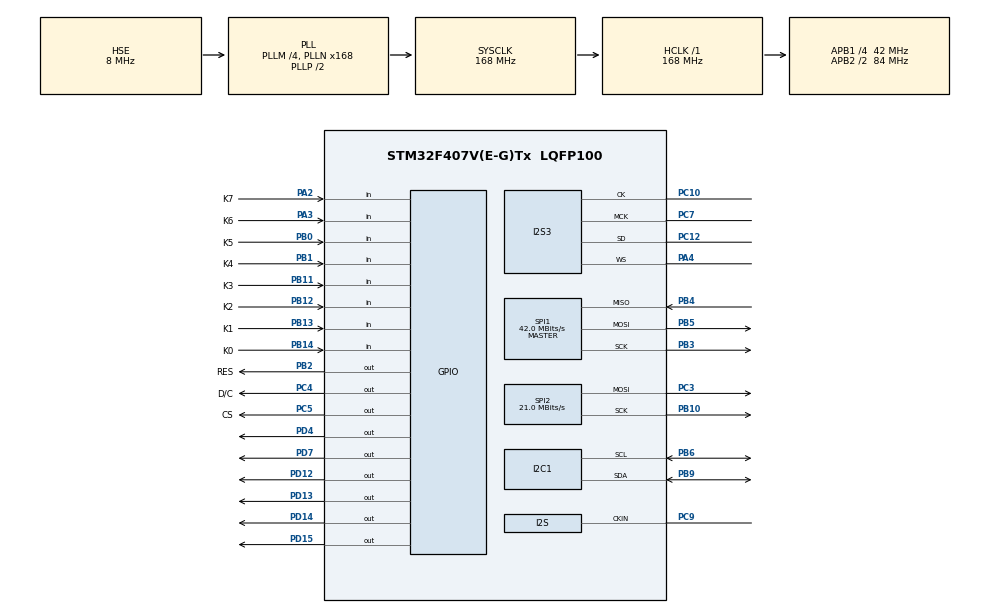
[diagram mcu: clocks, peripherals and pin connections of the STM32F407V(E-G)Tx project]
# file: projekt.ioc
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Dma.MEMTOMEM.1.Direction=DMA_MEMORY_TO_MEMORY
Dma.MEMTOMEM.1.FIFOMode=DMA_FIFOMODE_ENABLE
Dma.MEMTOMEM.1.FIFOThreshold=DMA_FIFO_THRESHOLD_FULL
Dma.MEMTOMEM.1.Instance=DMA2_Stream0
Dma.MEMTOMEM.1.MemBurst=DMA_MBURST_SINGLE
Dma.MEMTOMEM.1.MemDataAlignment=DMA_MDATAALIGN_HALFWORD
Dma.MEMTOMEM.1.MemInc=DMA_MINC_ENABLE
Dma.MEMTOMEM.1.Mode=DMA_NORMAL
Dma.MEMTOMEM.1.PeriphBurst=DMA_PBURST_SINGLE
Dma.MEMTOMEM.1.PeriphDataAlignment=DMA_PDATAALIGN_HALFWORD
Dma.MEMTOMEM.1.PeriphInc=DMA_PINC_ENABLE
Dma.MEMTOMEM.1.Priority=DMA_PRIORITY_LOW
Dma.Request0=SPI3_TX
Dma.Request1=MEMTOMEM
Dma.Request2=SPI1_RX
Dma.SPI1_RX.2.Direction=DMA_PERIPH_TO_MEMORY
Dma.SPI1_RX.2.FIFOMode=DMA_FIFOMODE_ENABLE
Dma.SPI1_RX.2.FIFOThreshold=DMA_FIFO_THRESHOLD_FULL
Dma.SPI1_RX.2.Instance=DMA2_Stream2
Dma.SPI1_RX.2.MemBurst=DMA_MBURST_SINGLE
Dma.SPI1_RX.2.MemDataAlignment=DMA_MDATAALIGN_BYTE
Dma.SPI1_RX.2.MemInc=DMA_MINC_ENABLE
Dma.SPI1_RX.2.Mode=DMA_NORMAL
Dma.SPI1_RX.2.PeriphBurst=DMA_PBURST_SINGLE
Dma.SPI1_RX.2.PeriphDataAlignment=DMA_PDATAALIGN_BYTE
Dma.SPI1_RX.2.PeriphInc=DMA_PINC_DISABLE
Dma.SPI1_RX.2.Priority=DMA_PRIORITY_LOW
Dma.SPI3_TX.0.Direction=DMA_MEMORY_TO_PERIPH
Dma.SPI3_TX.0.FIFOMode=DMA_FIFOMODE_ENABLE
Dma.SPI3_TX.0.FIFOThreshold=DMA_FIFO_THRESHOLD_FULL
Dma.SPI3_TX.0.Instance=DMA1_Stream5
Dma.SPI3_TX.0.MemBurst=DMA_MBURST_SINGLE
Dma.SPI3_TX.0.MemDataAlignment=DMA_MDATAALIGN_HALFWORD
Dma.SPI3_TX.0.MemInc=DMA_MINC_ENABLE
Dma.SPI3_TX.0.Mode=DMA_CIRCULAR
Dma.SPI3_TX.0.PeriphBurst=DMA_PBURST_SINGLE
Dma.SPI3_TX.0.PeriphDataAlignment=DMA_PDATAALIGN_HALFWORD
Dma.SPI3_TX.0.PeriphInc=DMA_PINC_DISABLE
Dma.SPI3_TX.0.Priority=DMA_PRIORITY_VERY_HIGH
I2S3.AudioFreq=I2S_AUDIOFREQ_16K
I2S3.ErrorAudioFreq=-0.26 %
I2S3.FullDuplexMode=I2S_FULLDUPLEXMODE_DISABLE
I2S3.Instance=SPI$Index
I2S3.RealAudioFreq=15.957 KHz
I2S3.VirtualMode=I2S_MODE_MASTER
Mcu.Family=STM32F4
Mcu.Name=STM32F407V(E-G)Tx
Mcu.Package=LQFP100
NVIC.DMA1_Stream5_IRQn=true\:0\:0\:false\:false\:true\:false\:true
NVIC.DMA2_Stream2_IRQn=true\:0\:0\:false\:false\:true\:false\:true
NVIC.PriorityGroup=NVIC_PRIORITYGROUP_4
NVIC.TIM4_IRQn=true\:0\:0\:false\:false\:true\:true\:true
PA2.GPIO_Label=K7
PA2.GPIO_PuPd=GPIO_PULLUP
PA2.Signal=GPIO_Input
PA3.GPIO_Label=K6
PA3.GPIO_PuPd=GPIO_PULLUP
PA3.Signal=GPIO_Input
PA4.Mode=Half_Duplex_Master
PA4.Signal=I2S3_WS
PB0.GPIO_Label=K5
PB0.GPIO_PuPd=GPIO_PULLUP
PB0.Signal=GPIO_Input
PB1.GPIO_Label=K4
PB1.GPIO_PuPd=GPIO_PULLUP
PB1.Signal=GPIO_Input
PB10.Mode=TX_Only_Simplex_Unidirect_Master
PB10.Signal=SPI2_SCK
PB11.GPIO_Label=K3
PB11.GPIO_PuPd=GPIO_PULLUP
PB11.Signal=GPIO_Input
PB12.GPIO_Label=K2
PB12.GPIO_PuPd=GPIO_PULLUP
PB12.Signal=GPIO_Input
PB13.GPIO_Label=K1
PB13.GPIO_PuPd=GPIO_PULLUP
PB13.Signal=GPIO_Input
PB14.GPIO_Label=K0
PB14.GPIO_PuPd=GPIO_PULLUP
PB14.Signal=GPIO_Input
PB2.GPIO_Label=RES
PB2.Signal=GPIO_Output
PB3.Mode=Full_Duplex_Master
PB3.Signal=SPI1_SCK
PB4.Mode=Full_Duplex_Master
PB4.Signal=SPI1_MISO
PB5.Mode=Full_Duplex_Master
PB5.Signal=SPI1_MOSI
PB6.Mode=I2C
PB6.Signal=I2C1_SCL
PB9.Mode=I2C
PB9.Signal=I2C1_SDA
PC10.Mode=Half_Duplex_Master
PC10.Signal=I2S3_CK
PC12.Mode=Half_Duplex_Master
PC12.Signal=I2S3_SD
PC3.Mode=TX_Only_Simplex_Unidirect_Master
PC3.Signal=SPI2_MOSI
PC4.GPIO_Label=D/C
PC4.Signal=GPIO_Output
PC5.GPIO_Label=CS
PC5.Signal=GPIO_Output
PC7.Mode=Master_Clock_Activated
PC7.Signal=I2S3_MCK
PC9.Mode=Audio_ClockIn
PC9.Signal=I2S_CKIN
PD12.Signal=GPIO_Output
PD13.Signal=GPIO_Output
PD14.Signal=GPIO_Output
PD15.Signal=GPIO_Output
PD4.Signal=GPIO_Output
PD7.Signal=GPIO_Output
PH0-OSC_IN.Mode=HSE-External-Oscillator
PH0-OSC_IN.Signal=RCC_OSC_IN
PH1-OSC_OUT.Mode=HSE-External-Oscillator
PH1-OSC_OUT.Signal=RCC_OSC_OUT
ProjectManager.HeapSize=0x200
ProjectManager.StackSize=0x400
ProjectManager.TargetToolchain=STM32CubeIDE
RCC.48MHZClocksFreq_Value=84000000
RCC.AHBFreq_Value=168000000
RCC.APB1CLKDivider=RCC_HCLK_DIV4
RCC.APB1Freq_Value=42000000
RCC.APB1TimFreq_Value=84000000
RCC.APB2CLKDivider=RCC_HCLK_DIV2
RCC.APB2Freq_Value=84000000
RCC.APB2TimFreq_Value=168000000
RCC.CortexFreq_Value=168000000
RCC.HCLKFreq_Value=168000000
RCC.HSE_VALUE=8000000
RCC.HSI_VALUE=16000000
RCC.LSE_VALUE=32768
RCC.PLLM=4
RCC.PLLN=168
RCC.PLLSourceVirtual=RCC_PLLSOURCE_HSE
RCC.SYSCLKFreq_VALUE=168000000
RCC.SYSCLKSource=RCC_SYSCLKSOURCE_PLLCLK
RCC.VCOOutputFreq_Value=336000000
SPI1.BaudRatePrescaler=SPI_BAUDRATEPRESCALER_2
SPI1.CalculateBaudRate=42.0 MBits/s
SPI1.DataSize=SPI_DATASIZE_8BIT
SPI1.Direction=SPI_DIRECTION_2LINES
SPI1.Mode=SPI_MODE_MASTER
SPI1.VirtualType=VM_MASTER
SPI2.CalculateBaudRate=21.0 MBits/s
SPI2.Direction=SPI_DIRECTION_2LINES
SPI2.Mode=SPI_MODE_MASTER
SPI2.VirtualType=VM_MASTER
TIM4.Period=1
TIM4.Prescaler=41
VP_TIM4_VS_ClockSourceINT.Mode=Internal
board=custom

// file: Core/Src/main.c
/* USER CODE BEGIN Header */
/**
  ******************************************************************************
  * @file           : main.c
  * @brief          : Main program body
  ******************************************************************************
  * @attention
  *
  * <h2><center>&copy; Copyright (c) 2020 STMicroelectronics.
  * All rights reserved.</center></h2>
  *
  * This software component is licensed by ST under BSD 3-Clause license,
  * the "License"; You may not use this file except in compliance with the
  * License. You may obtain a copy of the License at:
  *                        opensource.org/licenses/BSD-3-Clause
  *
  ******************************************************************************
  */
/* USER CODE END Header */

#include "main.h"

/* USER CODE BEGIN Includes */
#include "ff.h"
#include "CS43.h"
#include "file_system.h"
#include "ssd1306.h"
#include "display_control.h"
<<<<<<< Updated upstream
//#include "mp3dec.h"
=======
#include <stdio.h>
//#include "spiritMP3Dec.h"
>>>>>>> Stashed changes

#define K0	!HAL_GPIO_ReadPin(GPIOB, GPIO_PIN_14)
#define K1	!HAL_GPIO_ReadPin(GPIOB, GPIO_PIN_13)
#define K2	!HAL_GPIO_ReadPin(GPIOB, GPIO_PIN_12)
#define K3	!HAL_GPIO_ReadPin(GPIOB, GPIO_PIN_11)
#define K4	!HAL_GPIO_ReadPin(GPIOB, GPIO_PIN_1)
#define K5	!HAL_GPIO_ReadPin(GPIOB, GPIO_PIN_0)
#define K6	!HAL_GPIO_ReadPin(GPIOA, GPIO_PIN_3)
#define K7	!HAL_GPIO_ReadPin(GPIOA, GPIO_PIN_2)

/* USER CODE END Includes */

I2C_HandleTypeDef hi2c1;

I2S_HandleTypeDef hi2s3;
DMA_HandleTypeDef hdma_spi3_tx;

SPI_HandleTypeDef hspi1;
SPI_HandleTypeDef hspi2;
DMA_HandleTypeDef hdma_spi1_rx;

TIM_HandleTypeDef htim4;

DMA_HandleTypeDef hdma_memtomem_dma2_stream0;
/* USER CODE BEGIN PV */

char buffer[256];
static FATFS FatFs;
FRESULT fresult;
//obiekt pliku muzycznego
FIL mfile;

WORD bytes_written;
WORD bytes_read;

<<<<<<< Updated upstream
//extern const uint8_t rawAudio[123200];
=======
HAL_I2S_StateTypeDef hresult;
>>>>>>> Stashed changes

#define SM	22050

//uint16_t audio[SM];
uint32_t ad[SM];
//uint16_t read[SM];
uint16_t sample[2];

unsigned sam = 0;

volatile unsigned long filesize = 0;
unsigned chs = 1;
int pr = 0;

int button = 0;
uint8_t mode = 0;
uint8_t stop = 0;
int volume = 50;
//fs
char* fname = "/";
uint8_t fpos = 0;

/* USER CODE END PV */

void SystemClock_Config(void);
static void MX_GPIO_Init(void);
static void MX_DMA_Init(void);
static void MX_SPI1_Init(void);
static void MX_I2C1_Init(void);
static void MX_I2S3_Init(void);
static void MX_TIM4_Init(void);
static void MX_SPI2_Init(void);
/* USER CODE BEGIN PFP */

void HAL_TIM_PeriodElapsedCallback(TIM_HandleTypeDef *htim)
{
	if(htim->Instance == TIM4)
	{
		if(filesize>0 && stop==0)
		{
			while(HAL_I2S_GetState(&hi2s3) == HAL_I2S_STATE_BUSY_TX)
			{}

			/*if(filesize<SM)
			{
				//readData(audio,&mfile,filesize);
				filesize=0;
			}
			else
			{
				//readData(audio,&mfile,SM);
				filesize-=SM;
				//HAL_I2S_Transmit_DMA
			}*/
			/*sample[0]=rawAudio[sam];
			sample[1]=rawAudio[sam];
			HAL_I2S_Transmit(&hi2s3, sample, 2, 5);
			sam++;
			if(sam==123200) sam =0;*/

			/*if(chs==1)
			{
				sample[0] = audio[sam];
				sample[1] = audio[sam];
				sam++;
			}
			else if(chs==2)
			{
				sample[0] = audio[sam];
				sample[1] = audio[sam+1];
				sam+=2;
			}
			if(sam>=SM)
			{
				sam=0;
				filesize-=SM;
				//HAL_DMA_Start(&hdma_memtomem_dma2_stream0, *read, *sample, SM);

				readData(audio,&mfile,SM);
				pr++;
			}
			if(sam<filesize)
			{

				HAL_I2S_Transmit(&hi2s3, sample, 2, 5);

				HAL_I2S_Transmit_DMA(&hi2s3, sample, 2);

			}
			else
			{
				filesize = 0;
				closeFile(&mfile);
			}*/

			if(filesize<SM)
			{
				//HAL_I2S_Transmit_DMA(&hi2s3, audio, filesize);
				filesize = 0;
			}
			else
			{
				//HAL_I2S_Transmit_DMA(&hi2s3, audio, SM);
				filesize -= SM;
				//readData(audio, &mfile,SM);
				readData(ad, &mfile,SM);
			}
		}
	}
}

/* USER CODE END PFP */

int main(void)
{

  /* MCU Configuration--------------------------------------------------------*/

  /* Reset of all peripherals, Initializes the Flash interface and the Systick. */
  HAL_Init();

  /* Configure the system clock */
  SystemClock_Config();

  /* Initialize all configured peripherals */
  MX_GPIO_Init();
  MX_DMA_Init();
  MX_SPI1_Init();
  MX_I2C1_Init();
  MX_I2S3_Init();
  MX_TIM4_Init();
  MX_SPI2_Init();
  /* USER CODE BEGIN 2 */

  char* ts = "au.wav";

  fresult = fatInit(&FatFs);
  HAL_Delay(1);
<<<<<<< Updated upstream
  fresult = openFile(ts, &mfile);
  HAL_Delay(1);
  filesize = setUp(&mfile, &hi2s3, &chs);
=======
  //fresult = openFile(ts, &files[0]);
  HAL_Delay(1);
  //filesize = setUp(&files[0], &hi2s3, &chs);
>>>>>>> Stashed changes
  HAL_Delay(1);

	/*HAL_GPIO_WritePin(GPIOD, GPIO_PIN_7, 0);

	fresult = f_mount(&FatFs, "", 0);
	fresult = f_open(&file, "write.txt", FA_OPEN_ALWAYS | FA_WRITE);
	volatile int len = 0;

    FRESULT res;
    DIR dir;
    static FILINFO fno;
    volatile int ile = 0;
    res = f_opendir(&dir,"/");
    if(res == FR_OK)
    {
    	while(1)
		{
			res = f_readdir(&dir,&fno);
			if(res != FR_OK || fno.fname[0] == 0) break;
			else if(fno.fattrib & AM_SYS) continue;
			else ile++;
			len = sprintf( buffer, "\n");
			fresult = f_write(&file,buffer,len,&bytes_written);
			len = sprintf( buffer, fno.fname);
			fresult = f_write(&file,buffer,len,&bytes_written);

		}
    }
    fresult = f_close (&file);
    volatile int v1 = 1;*/

  	//readData(read,&mfile,SM);
  	//HAL_DMA_Start(&hdma_memtomem_dma2_stream0, *read, *sample, SM);

  	//readData(audio,&mfile,SM);
  	readData(ad,&mfile,SM*4);

    CS43_Start(&hi2c1);

    int lll = 0;
    setVolume(&hi2c1,100);

    //HAL_TIM_Base_Start_IT(&htim4);
    //filesize = 1;
    displayInit();

  /* USER CODE END 2 */

  /* Infinite loop */
  /* USER CODE BEGIN WHILE */
  while (1)
  {
<<<<<<< Updated upstream

	  /*v1 = HAL_GPIO_ReadPin(GPIOB, GPIO_PIN_14);
	  if(!v1)
	  {
		  HAL_GPIO_TogglePin(GPIOD,GPIO_PIN_14);
	  }
	  v1=1;
	  HAL_Delay(500);*/

	  //HAL_I2S_Transmit_DMA(&hi2s3, sample, 2);
		//while(HAL_I2S_GetState(&hi2s3) == HAL_I2S_STATE_BUSY_TX)
		//{}
	  	  if(stop==0)
	  	  {
	  		if(lll<SM)
	  			  	{
	  			  		//HAL_I2S_Transmit_DMA(&hi2s3, audio, SM);
	  					HAL_I2S_Transmit_DMA(&hi2s3, ad, SM);
	  			  		HAL_GPIO_TogglePin(GPIOD,GPIO_PIN_14);
	  			  		lll+=SM;
	  			  	}
	  			  	else
	  			  	{
	  			  		lll=0;
	  			  		if(filesize<SM)
	  					{
	  						readData(ad,&mfile,filesize*4);
	  						//readData(audio,&mfile,filesize*2);
	  						filesize=0;
	  					}
	  					else
	  					{
	  						//readData(audio,&mfile,SM*2);
	  						readData(ad,&mfile,SM*4);
	  						filesize-=SM;
	  					}
	  			  	}
	  	  }

	  if(K0)
	  {
		  if(pr) continue;
		  pr=1;
		  if(fresult!=FR_OK)
		  {
			  fresult = fatInit(&FatFs);
			  displayInit();
		  }
		  else
		  {
			  mode = (mode+1)%2;
			  //change mode
			  fpos = 0;
			  update(&fpos);
		  }

	  }
	  else if(K1)	//stop play
	  {
		  HAL_StatusTypeDef status;
		 if(pr) continue;
		 pr=1;
		 stop = (++stop)%2;
		 if(stop){
			 while ((status = HAL_I2C_Mem_Write(&hi2c1, 0x94, 0x0F, 1, 253, 1, 100)) != HAL_OK);
		 }
		 else{
			 while ((status = HAL_I2C_Mem_Write(&hi2c1, 0x94, 0x0F, 1, 0, 1, 100)) != HAL_OK);
			 setVolume(&hi2c1,volume);
		 }
	  }
	  else if(K2)
	  {
		  if(pr) continue;
		  pr=1;
		  if(volume<100) volume+=10;
		  setVolume(&hi2c1,volume);
	  }
	  else if(K3)
	  {
		  if(pr) continue;
		  pr=1;
		  if(volume>0) volume-=10;
		  setVolume(&hi2c1,volume);
	  }
	  else if(K4)
	  {
		  if(pr) continue;
		  pr=1;
		  goBack(&fpos);
		  fpos=0;
		  update(&fpos);
	  }
	  else if(K5)
	  {
		  if(pr) continue;
		  pr=1;
		  //open
		  if(open(&fpos, &mfile)==1)
		  {
			  fpos=0;
			  update(&fpos);
		  }
	  }
	  else if(K6)
	  {
		  if(pr) continue;
		  pr=1;
		  scrollUp(&fpos);
		  if(fpos==4) open(&fpos, &mfile);
		  update(&fpos);
		  HAL_Delay(1);
	  }
	  else if(K7)
	  {
		  if(pr) continue;
		  pr=1;
		  scrollDown(&fpos);
		  if(fpos==0) {
			  open(5, &mfile);
		  }
=======
	if(stop==0)
	{
		switch(playType)
		{
		case 0:;
			//nic nie gra
			HAL_StatusTypeDef status;
			//uint16_t emptyData = 0;
			//HAL_I2S_Transmit_DMA(&hi2s3, &emptyData, 1);
			//while ((status = HAL_I2C_Mem_Write(&hi2c1, 0x94, 0x0F, 1, 253, 1, 100)) != HAL_OK);
			if(playPlaylist)
			{
				//kolejna piosenka
				nextsong++;
				int temppos = fpos;
				scrollDown(&fpos);
				if(temppos == fpos)
				{

				}
				else
				{

				}
				update(&fpos);
				playType = forceFile(&fpos, &files[0]);
				//readPlaylist(&nextsong, files[2]);
			}
			else
			{
				for(int i=0;i<SM;i++)
				{
					ad[i]=0;
				}
				//HAL_I2S_Transmit_DMA(&hi2s3, &ad,SM);
				stop=1;
			}
			break;
		case 1:	//wav
			if(filesize>0)
			{
				if(filesize<SM)
				{
					readData(ad,&files[0],filesize*4);
					//while((hresult = HAL_I2S_Transmit_DMA(&hi2s3, ad, filesize))!=HAL_OK);
					hresult = HAL_I2S_Transmit_DMA(&hi2s3, ad, filesize);
				}
				else
				{
					readData(ad,&files[0],SM*4);
					//while((hresult = HAL_I2S_Transmit_DMA(&hi2s3, ad, SM))!=HAL_OK);
					hresult = HAL_I2S_Transmit_DMA(&hi2s3, ad, SM*4);
				}

			}
			else
			{
				playType = 0;	//zakończ odtwarzanie
			}
			break;
		case 2: //mp3
			if(1==1)
			{
				//gra muzyka
			}
			else
			{
				playType = 0; 	//zakończ odtwarzanie
			}
			break;
		default:
			break;
		}

		/*if(lll<SM)
		{
			//HAL_I2S_Transmit_DMA(&hi2s3, audio, SM);
			HAL_I2S_Transmit_DMA(&hi2s3, ad, SM);
			HAL_GPIO_TogglePin(GPIOD,GPIO_PIN_14);
			lll+=SM;
		}
		else
		{
			lll=0;
			if(filesize<SM)
			{
				readData(ad,&files[0],filesize*4);
				//readData(audio,&mfile,filesize*2);
				filesize=0;
			}
			else
			{
				//readData(audio,&mfile,SM*2);
				readData(ad,&files[0],SM*4);
				filesize-=SM;
			}
		}*/
	}
	if(K0)
	{
		if(pr) continue;
		pr=1;
		//mode = (mode+1)%2;
		if(ifPlaylist) ifPlaylist = 0;
		changeMode(&mode);
		update(&fpos);
		/*if(fresult!=FR_OK)
		{
		  fresult = fatInit(&FatFs);
		  displayInit();
		}
		else
		{
		  mode = (mode+1)%2;
		  //change mode
		  fpos = 0;
>>>>>>> Stashed changes
		  update(&fpos);
	  }
	  else pr=0;

<<<<<<< Updated upstream

=======
	}
	/// NEW
	else if(K1)				// mode 0 stop/play 	|| mode 1 add song
	{
		if(mode == 0)
		{
			HAL_StatusTypeDef status;
			if(pr) continue;
			pr=1;
			stop = (++stop)%2;
			if(stop)
			{
				while ((status = HAL_I2C_Mem_Write(&hi2c1, 0x94, 0x0F, 1, 253, 1, 100)) != HAL_OK);
			}
			else
			{
				while ((status = HAL_I2C_Mem_Write(&hi2c1, 0x94, 0x0F, 1, 0, 1, 100)) != HAL_OK);
				setVolume(&hi2c1,volume);
			}
		}
		else if (mode == 1)
		{	/// NEW
			if(ifPlaylist == 1)
			{
				addSong(&fpos, &files[1]);
				HAL_Delay(600);
			}
			else if(ifPlaylist == 0)
			{
				//
			}
		}
	}
	/// NEW
	else if(K2)				//mode 1 volume up || mode 0 create playlist
	{
		if(pr) continue;
		pr=1;
		if(mode==0)
		{
			if(volume<100) volume+=10;
					setVolume(&hi2c1,volume);
		}
		else if (mode==1)
		{
			if(ifPlaylist == 0)
			{
				ifPlaylist = 1;
				createPlaylist(&files[1]);

				//creatPlayName = createPlaylist();
				/// TODO
				// przechodzimy do głównego folderu
				// dir = "/";
				updateDir();
				update(&fpos);
			}
			/*else if(ifPlaylist == 1)
			{
				ifPlaylist = 0;				// koniec edycji playlistty
				/// TODO
				forceDir("/playlists");
				fpos = 0;
				// przechodzimy do ścieżki, gdzie znajdują się playlisty
				// dir = "/playlists/plist\0";
				 updateDir();
				 update(&fpos);
			}*/
		}
	}
	/// NEW
	else if(K3) 		//mode 0 volume down || mode 1 delete playlist
	{
		if(pr) continue;
		pr=1;
		if(mode==0)
		{
			if(volume>0) volume-=10;
			setVolume(&hi2c1,volume);
		}
		else if(mode == 1)
		{
			deletePlaylist(&fpos);
		}
	}
	else if(K4)	//go back
	{
		if(pr) continue;
		pr=1;
		goBack(&fpos);
		if(playPlaylist)
		{
			playPlaylist = 0;
			changeView(0);
		}
		fpos=0;
		update(&fpos);
	}
	else if(K5)	//open
	{
		if(pr) continue;
		pr=1;
		//open
		if(playPlaylist==0)	//jeżeli playlista nie jest otwarta - nie odtwarza się
		{
			switch(open(&fpos, files))
			{
				case 0:
					//error

					break;
				case 1:
					//wav
					filesize = setUp(&files[0], &hi2s3, &chs);
					readData(ad,&files[0],SM*4);
					//HAL_I2S_Transmit_DMA(&hi2s3, ad, SM*2);
					playType = 1;
					stop=0;

					break;
				case 2:
					//mp3
					//brak nie działa

					playType = 2;
					stop=0;

					break;
				case 3:
					//playlista
					//0	-	wyswietl playliste
					changeView(1);
					fpos=0;
					update(&fpos);
					ifPlaylist = 0;
					//tu należy zacząć odtwarzać playliste, przewijanie góra/dół (K6/K7) przewija piosenke
					if(howLinesFun(&files[1])>0)	//liczy ile jest piosenek
					{
						playPlaylist = 1;	//zaczyna odtwarzanie playlisty
					}
					forceFile(&fpos,&files[0]);	//otwórz pierwszą piosenke z pl
					filesize = setUp(&files[0], &hi2s3, &chs);
					playType = 1;
					stop = 0;

					break;
				case 4:
					//folder
					fpos=0;
					updateDir();
					update(&fpos);

					break;
				default:
					break;
			}
		}

		/*if(open(&fpos, &mfile)==1)
		{
			fpos=0;
			update(&fpos);
		}*/
	}
	else if(K6)	//position up
	{
		if(pr) continue;
		pr=1;
		scrollUp(&fpos);
		//if(fpos==4) open(5, &mfile);
		if(fpos==4)
		{
			updateDir();
			updatePL(&files[1]);
		}
		if(playPlaylist)forceFile(&fpos,&files[0]);
		update(&fpos);
		HAL_Delay(1);
	}
	else if(K7)	//position down
	{
		if(pr) continue;
		pr=1;
		scrollDown(&fpos);
		if(fpos==0)
		{
			updateDir();
			updatePL(&files[1]);
			//open(5, &mfile);
		}
		if(playPlaylist)forceFile(&fpos,&files[0]);
		update(&fpos);
	}
	else pr=0;
>>>>>>> Stashed changes
    /* USER CODE END WHILE */

  }
}

void SystemClock_Config(void)
{
  RCC_OscInitTypeDef RCC_OscInitStruct = {0};
  RCC_ClkInitTypeDef RCC_ClkInitStruct = {0};
  RCC_PeriphCLKInitTypeDef PeriphClkInitStruct = {0};

  /** Configure the main internal regulator output voltage
  */
  __HAL_RCC_PWR_CLK_ENABLE();
  __HAL_PWR_VOLTAGESCALING_CONFIG(PWR_REGULATOR_VOLTAGE_SCALE1);
  /** Initializes the CPU, AHB and APB busses clocks
  */
  RCC_OscInitStruct.OscillatorType = RCC_OSCILLATORTYPE_HSE;
  RCC_OscInitStruct.HSEState = RCC_HSE_ON;
  RCC_OscInitStruct.PLL.PLLState = RCC_PLL_ON;
  RCC_OscInitStruct.PLL.PLLSource = RCC_PLLSOURCE_HSE;
  RCC_OscInitStruct.PLL.PLLM = 4;
  RCC_OscInitStruct.PLL.PLLN = 168;
  RCC_OscInitStruct.PLL.PLLP = RCC_PLLP_DIV2;
  RCC_OscInitStruct.PLL.PLLQ = 4;
  if (HAL_RCC_OscConfig(&RCC_OscInitStruct) != HAL_OK)
  {
    Error_Handler();
  }
  /** Initializes the CPU, AHB and APB busses clocks
  */
  RCC_ClkInitStruct.ClockType = RCC_CLOCKTYPE_HCLK|RCC_CLOCKTYPE_SYSCLK
                              |RCC_CLOCKTYPE_PCLK1|RCC_CLOCKTYPE_PCLK2;
  RCC_ClkInitStruct.SYSCLKSource = RCC_SYSCLKSOURCE_PLLCLK;
  RCC_ClkInitStruct.AHBCLKDivider = RCC_SYSCLK_DIV1;
  RCC_ClkInitStruct.APB1CLKDivider = RCC_HCLK_DIV4;
  RCC_ClkInitStruct.APB2CLKDivider = RCC_HCLK_DIV2;

  if (HAL_RCC_ClockConfig(&RCC_ClkInitStruct, FLASH_LATENCY_5) != HAL_OK)
  {
    Error_Handler();
  }
  PeriphClkInitStruct.PeriphClockSelection = RCC_PERIPHCLK_I2S;
  PeriphClkInitStruct.PLLI2S.PLLI2SN = 192;
  PeriphClkInitStruct.PLLI2S.PLLI2SR = 2;
  if (HAL_RCCEx_PeriphCLKConfig(&PeriphClkInitStruct) != HAL_OK)
  {
    Error_Handler();
  }
}

static void MX_I2C1_Init(void)
{

  hi2c1.Instance = I2C1;
  hi2c1.Init.ClockSpeed = 100000;
  hi2c1.Init.DutyCycle = I2C_DUTYCYCLE_2;
  hi2c1.Init.OwnAddress1 = 0;
  hi2c1.Init.AddressingMode = I2C_ADDRESSINGMODE_7BIT;
  hi2c1.Init.DualAddressMode = I2C_DUALADDRESS_DISABLE;
  hi2c1.Init.OwnAddress2 = 0;
  hi2c1.Init.GeneralCallMode = I2C_GENERALCALL_DISABLE;
  hi2c1.Init.NoStretchMode = I2C_NOSTRETCH_DISABLE;
  if (HAL_I2C_Init(&hi2c1) != HAL_OK)
  {
    Error_Handler();
  }

}

static void MX_I2S3_Init(void)
{

  hi2s3.Instance = SPI3;
  hi2s3.Init.Mode = I2S_MODE_MASTER_TX;
  hi2s3.Init.Standard = I2S_STANDARD_PHILIPS;
  hi2s3.Init.DataFormat = I2S_DATAFORMAT_16B;
  hi2s3.Init.MCLKOutput = I2S_MCLKOUTPUT_ENABLE;
  hi2s3.Init.AudioFreq = I2S_AUDIOFREQ_16K;
  hi2s3.Init.CPOL = I2S_CPOL_LOW;
  hi2s3.Init.ClockSource = I2S_CLOCK_PLL;
  hi2s3.Init.FullDuplexMode = I2S_FULLDUPLEXMODE_DISABLE;
  if (HAL_I2S_Init(&hi2s3) != HAL_OK)
  {
    Error_Handler();
  }

}

static void MX_SPI1_Init(void)
{

  /* SPI1 parameter configuration*/
  hspi1.Instance = SPI1;
  hspi1.Init.Mode = SPI_MODE_MASTER;
  hspi1.Init.Direction = SPI_DIRECTION_2LINES;
  hspi1.Init.DataSize = SPI_DATASIZE_8BIT;
  hspi1.Init.CLKPolarity = SPI_POLARITY_LOW;
  hspi1.Init.CLKPhase = SPI_PHASE_1EDGE;
  hspi1.Init.NSS = SPI_NSS_SOFT;
  hspi1.Init.BaudRatePrescaler = SPI_BAUDRATEPRESCALER_2;
  hspi1.Init.FirstBit = SPI_FIRSTBIT_MSB;
  hspi1.Init.TIMode = SPI_TIMODE_DISABLE;
  hspi1.Init.CRCCalculation = SPI_CRCCALCULATION_DISABLE;
  hspi1.Init.CRCPolynomial = 10;
  if (HAL_SPI_Init(&hspi1) != HAL_OK)
  {
    Error_Handler();
  }

}

static void MX_SPI2_Init(void)
{

  /* SPI2 parameter configuration*/
  hspi2.Instance = SPI2;
  hspi2.Init.Mode = SPI_MODE_MASTER;
  hspi2.Init.Direction = SPI_DIRECTION_2LINES;
  hspi2.Init.DataSize = SPI_DATASIZE_8BIT;
  hspi2.Init.CLKPolarity = SPI_POLARITY_LOW;
  hspi2.Init.CLKPhase = SPI_PHASE_1EDGE;
  hspi2.Init.NSS = SPI_NSS_SOFT;
  hspi2.Init.BaudRatePrescaler = SPI_BAUDRATEPRESCALER_2;
  hspi2.Init.FirstBit = SPI_FIRSTBIT_MSB;
  hspi2.Init.TIMode = SPI_TIMODE_DISABLE;
  hspi2.Init.CRCCalculation = SPI_CRCCALCULATION_DISABLE;
  hspi2.Init.CRCPolynomial = 10;
  if (HAL_SPI_Init(&hspi2) != HAL_OK)
  {
    Error_Handler();
  }

}

static void MX_TIM4_Init(void)
{

  TIM_ClockConfigTypeDef sClockSourceConfig = {0};
  TIM_MasterConfigTypeDef sMasterConfig = {0};

  htim4.Instance = TIM4;
  htim4.Init.Prescaler = 41;
  htim4.Init.CounterMode = TIM_COUNTERMODE_UP;
  htim4.Init.Period = 1;
  htim4.Init.ClockDivision = TIM_CLOCKDIVISION_DIV1;
  htim4.Init.AutoReloadPreload = TIM_AUTORELOAD_PRELOAD_DISABLE;
  if (HAL_TIM_Base_Init(&htim4) != HAL_OK)
  {
    Error_Handler();
  }
  sClockSourceConfig.ClockSource = TIM_CLOCKSOURCE_INTERNAL;
  if (HAL_TIM_ConfigClockSource(&htim4, &sClockSourceConfig) != HAL_OK)
  {
    Error_Handler();
  }
  sMasterConfig.MasterOutputTrigger = TIM_TRGO_RESET;
  sMasterConfig.MasterSlaveMode = TIM_MASTERSLAVEMODE_DISABLE;
  if (HAL_TIMEx_MasterConfigSynchronization(&htim4, &sMasterConfig) != HAL_OK)
  {
    Error_Handler();
  }

}

static void MX_DMA_Init(void)
{

  /* DMA controller clock enable */
  __HAL_RCC_DMA1_CLK_ENABLE();
  __HAL_RCC_DMA2_CLK_ENABLE();

  /* Configure DMA request hdma_memtomem_dma2_stream0 on DMA2_Stream0 */
  hdma_memtomem_dma2_stream0.Instance = DMA2_Stream0;
  hdma_memtomem_dma2_stream0.Init.Channel = DMA_CHANNEL_0;
  hdma_memtomem_dma2_stream0.Init.Direction = DMA_MEMORY_TO_MEMORY;
  hdma_memtomem_dma2_stream0.Init.PeriphInc = DMA_PINC_ENABLE;
  hdma_memtomem_dma2_stream0.Init.MemInc = DMA_MINC_ENABLE;
  hdma_memtomem_dma2_stream0.Init.PeriphDataAlignment = DMA_PDATAALIGN_HALFWORD;
  hdma_memtomem_dma2_stream0.Init.MemDataAlignment = DMA_MDATAALIGN_HALFWORD;
  hdma_memtomem_dma2_stream0.Init.Mode = DMA_NORMAL;
  hdma_memtomem_dma2_stream0.Init.Priority = DMA_PRIORITY_LOW;
  hdma_memtomem_dma2_stream0.Init.FIFOMode = DMA_FIFOMODE_ENABLE;
  hdma_memtomem_dma2_stream0.Init.FIFOThreshold = DMA_FIFO_THRESHOLD_FULL;
  hdma_memtomem_dma2_stream0.Init.MemBurst = DMA_MBURST_SINGLE;
  hdma_memtomem_dma2_stream0.Init.PeriphBurst = DMA_PBURST_SINGLE;
  if (HAL_DMA_Init(&hdma_memtomem_dma2_stream0) != HAL_OK)
  {
    Error_Handler( );
  }

  /* DMA interrupt init */
  /* DMA1_Stream5_IRQn interrupt configuration */
  HAL_NVIC_SetPriority(DMA1_Stream5_IRQn, 0, 0);
  HAL_NVIC_EnableIRQ(DMA1_Stream5_IRQn);
  /* DMA2_Stream2_IRQn interrupt configuration */
  HAL_NVIC_SetPriority(DMA2_Stream2_IRQn, 0, 0);
  HAL_NVIC_EnableIRQ(DMA2_Stream2_IRQn);

}

static void MX_GPIO_Init(void)
{
  GPIO_InitTypeDef GPIO_InitStruct = {0};

  /* GPIO Ports Clock Enable */
  __HAL_RCC_GPIOH_CLK_ENABLE();
  __HAL_RCC_GPIOC_CLK_ENABLE();
  __HAL_RCC_GPIOA_CLK_ENABLE();
  __HAL_RCC_GPIOB_CLK_ENABLE();
  __HAL_RCC_GPIOD_CLK_ENABLE();

  /*Configure GPIO pin Output Level */
  HAL_GPIO_WritePin(GPIOC, D_C_Pin|CS_Pin, GPIO_PIN_RESET);

  /*Configure GPIO pin Output Level */
  HAL_GPIO_WritePin(RES_GPIO_Port, RES_Pin, GPIO_PIN_RESET);

  /*Configure GPIO pin Output Level */
  HAL_GPIO_WritePin(GPIOD, GPIO_PIN_12|GPIO_PIN_13|GPIO_PIN_14|GPIO_PIN_15
                          |GPIO_PIN_4|GPIO_PIN_7, GPIO_PIN_RESET);

  /*Configure GPIO pins : K7_Pin K6_Pin */
  GPIO_InitStruct.Pin = K7_Pin|K6_Pin;
  GPIO_InitStruct.Mode = GPIO_MODE_INPUT;
  GPIO_InitStruct.Pull = GPIO_PULLUP;
  HAL_GPIO_Init(GPIOA, &GPIO_InitStruct);

  /*Configure GPIO pins : D_C_Pin CS_Pin */
  GPIO_InitStruct.Pin = D_C_Pin|CS_Pin;
  GPIO_InitStruct.Mode = GPIO_MODE_OUTPUT_PP;
  GPIO_InitStruct.Pull = GPIO_NOPULL;
  GPIO_InitStruct.Speed = GPIO_SPEED_FREQ_LOW;
  HAL_GPIO_Init(GPIOC, &GPIO_InitStruct);

  /*Configure GPIO pins : K5_Pin K4_Pin K3_Pin K2_Pin
                           K1_Pin K0_Pin */
  GPIO_InitStruct.Pin = K5_Pin|K4_Pin|K3_Pin|K2_Pin
                          |K1_Pin|K0_Pin;
  GPIO_InitStruct.Mode = GPIO_MODE_INPUT;
  GPIO_InitStruct.Pull = GPIO_PULLUP;
  HAL_GPIO_Init(GPIOB, &GPIO_InitStruct);

  /*Configure GPIO pin : RES_Pin */
  GPIO_InitStruct.Pin = RES_Pin;
  GPIO_InitStruct.Mode = GPIO_MODE_OUTPUT_PP;
  GPIO_InitStruct.Pull = GPIO_NOPULL;
  GPIO_InitStruct.Speed = GPIO_SPEED_FREQ_LOW;
  HAL_GPIO_Init(RES_GPIO_Port, &GPIO_InitStruct);

  /*Configure GPIO pins : PD12 PD13 PD14 PD15
                           PD4 PD7 */
  GPIO_InitStruct.Pin = GPIO_PIN_12|GPIO_PIN_13|GPIO_PIN_14|GPIO_PIN_15
                          |GPIO_PIN_4|GPIO_PIN_7;
  GPIO_InitStruct.Mode = GPIO_MODE_OUTPUT_PP;
  GPIO_InitStruct.Pull = GPIO_NOPULL;
  GPIO_InitStruct.Speed = GPIO_SPEED_FREQ_LOW;
  HAL_GPIO_Init(GPIOD, &GPIO_InitStruct);

  /*Configure GPIO pin : PC9 */
  GPIO_InitStruct.Pin = GPIO_PIN_9;
  GPIO_InitStruct.Mode = GPIO_MODE_AF_PP;
  GPIO_InitStruct.Pull = GPIO_NOPULL;
  GPIO_InitStruct.Speed = GPIO_SPEED_FREQ_LOW;
  GPIO_InitStruct.Alternate = GPIO_AF5_SPI1;
  HAL_GPIO_Init(GPIOC, &GPIO_InitStruct);

}

void Error_Handler(void)
{
}

/************************ (C) COPYRIGHT STMicroelectronics *****END OF FILE****/
